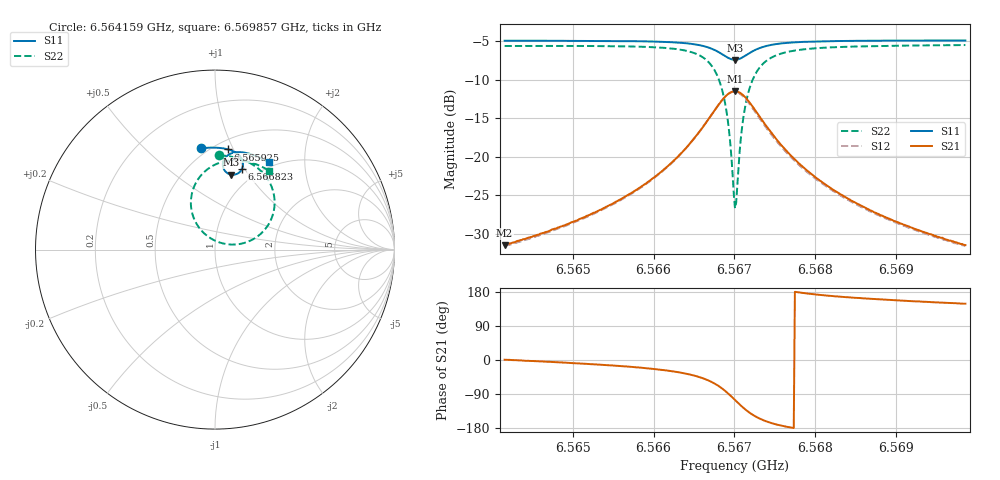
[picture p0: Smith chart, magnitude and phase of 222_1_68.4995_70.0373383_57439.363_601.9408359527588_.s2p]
#  HZ  S  RI  R  50.00
! Rohde & Schwarz Vector Network Analyzer
! Rohde-Schwarz,ZNB20-2Port,1311601062101988,3.16
! Created: UTC 3/20/2024, 4:58:35 PM
! freq[Hz]  re:S11  im:S11  re:S21  im:S21  re:S12  im:S12  re:S22  im:S22
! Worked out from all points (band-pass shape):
!   401 points, 6.564159 GHz to 6.569857 GHz, reference 50 ohm
!   highest |S21| = -11.47 dB at 6.567008 GHz (marker M1); lowest = -31.5 dB at 6.564159 GHz (marker M2)
!   |S21| within 3 dB of the highest: 6.566722 GHz to 6.567293 GHz (570.4 kHz wide, 0.00869 % of centre)
!   lowest |S11| = -7.4 dB at 6.567008 GHz (marker M3), VSWR 2.49, Z = 40.6 + j41.5 ohm
!   |S11| at or under -10 dB: nowhere
!   |S22| runs from -26.7 to -5.5 dB; largest |S21 - S12| = 0.012
!   S11 on the Smith chart (normalised r, x): 6.564159 GHz: 0.46, +0.76; 6.565925 GHz: 0.58, +0.95; 6.566823 GHz: 0.84, +0.97; 6.569857 GHz: 0.93, +1.34
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6.5641587e9  -0.0779 0.5638  0.0267 0.000368  0.0264 -0.000244  0.0214 0.5253
6.5651132e9  -0.000391 0.5681  0.0394 -0.00646  0.0387 -0.00706  0.1097 0.5141
6.5659252e9  0.0734 0.558  0.0634 -0.0256  0.0623 -0.0262  0.209 0.4743
6.5660676e9  0.0879 0.5534  0.0705 -0.0331  0.0694 -0.0339  0.2317 0.4587
6.566381e9  0.1231 0.5351  0.0906 -0.0639  0.0893 -0.0653  0.2904 0.3978
6.5665947e9  0.1473 0.5079  0.1037 -0.1114  0.1015 -0.1135  0.3283 0.3062
6.5667229e9  0.1557 0.4791  0.0991 -0.1613  0.0953 -0.1644  0.3265 0.2108
6.5668226e9  0.1502 0.4495  0.0725 -0.2123  0.0659 -0.2153  0.2801 0.1147
6.5669081e9  0.1292 0.4255  0.0197 -0.2518  0.00991 -0.2522  0.1839 0.0442
6.5669366e9  0.1186 0.4204  -0.00452 -0.2592  -0.0151 -0.2584  0.1401 0.0316
6.5669936e9  0.0938 0.4171  -0.058 -0.2604  -0.0689 -0.2558  0.0451 0.0341
6.5670078e9  0.0875 0.4182  -0.0715 -0.2574  -0.0822 -0.2518  0.0217 0.041
6.5670363e9  0.0754 0.4223  -0.0971 -0.2475  -0.1068 -0.2401  -0.022 0.0614
6.5670933e9  0.0562 0.4376  -0.1385 -0.2151  -0.1454 -0.2052  -0.0897 0.1235
6.567136e9  0.0476 0.4525  -0.1586 -0.1849  -0.163 -0.1743  -0.1195 0.1786
6.567193e9  0.0436 0.473  -0.171 -0.1445  -0.1724 -0.1345  -0.1343 0.2506
6.5672642e9  0.0476 0.4951  -0.1708 -0.1016  -0.1697 -0.093  -0.1254 0.3253
6.5675207e9  0.0866 0.5344  -0.1281 -0.022  -0.1252 -0.0185  -0.0287 0.4571
6.5679623e9  0.1451 0.5426  -0.0762 0.00808  -0.0743 0.00921  0.0926 0.4974
6.5684181e9  0.19 0.5343  -0.0514 0.0134  -0.0501 0.0141  0.1657 0.493
6.5689167e9  0.2316 0.5202  -0.0369 0.0145  -0.0359 0.0148  0.222 0.4778
6.5698569e9  0.3 0.486  -0.0228 0.0139  -0.0223 0.0139  0.3017 0.4395
